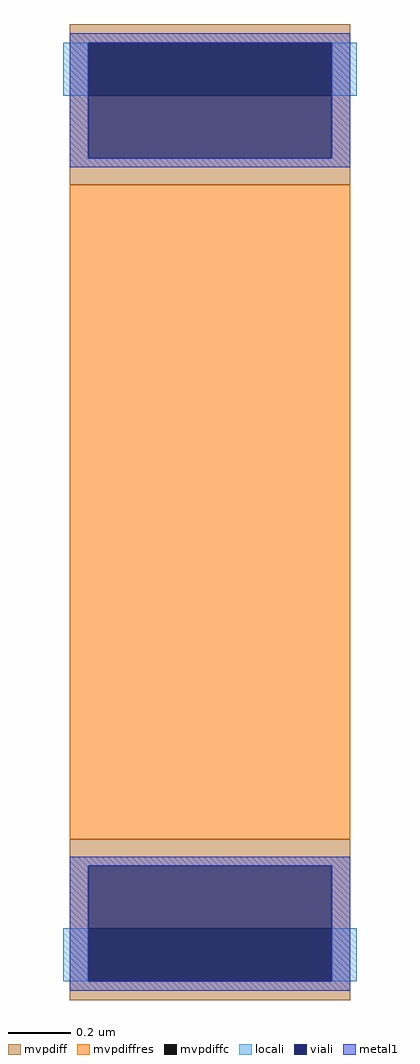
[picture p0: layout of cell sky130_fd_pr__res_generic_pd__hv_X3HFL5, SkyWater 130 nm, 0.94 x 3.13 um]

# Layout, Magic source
magic
tech sky130A
magscale 1 2
<< mvpdiff >>
rect -90 301 90 313
rect -90 267 -78 301
rect 78 267 90 301
rect -90 210 90 267
rect -90 -267 90 -210
rect -90 -301 -78 -267
rect 78 -301 90 -267
rect -90 -313 90 -301
<< mvpdiffc >>
rect -78 267 78 301
rect -78 -301 78 -267
<< mvpdiffres >>
rect -90 -210 90 210
<< locali >>
rect -94 267 -78 301
rect 78 267 94 301
rect -94 -301 -78 -267
rect 78 -301 94 -267
<< viali >>
rect -78 267 78 301
rect -78 227 78 267
rect -78 -267 78 -227
rect -78 -301 78 -267
<< metal1 >>
rect -90 301 90 307
rect -90 227 -78 301
rect 78 227 90 301
rect -90 221 90 227
rect -90 -227 90 -221
rect -90 -301 -78 -227
rect 78 -301 90 -227
rect -90 -307 90 -301
<< properties >>
string gencell sky130_fd_pr__res_generic_pd__hv
string library sky130
string parameters w 0.9 l 2.1 m 1 nx 1 wmin 0.42 lmin 2.10 rho 197 val 470.113 dummy 0 dw 0.02 term 0.0 sterm 0.0 caplen 0.60 snake 0 guard 0 glc 1 grc 1 gtc 1 gbc 1 roverlap 0 endcov 100 full_metal 1 vias 1 viagb 0 viagt 0 viagl 0 viagr 0
<< end >>
